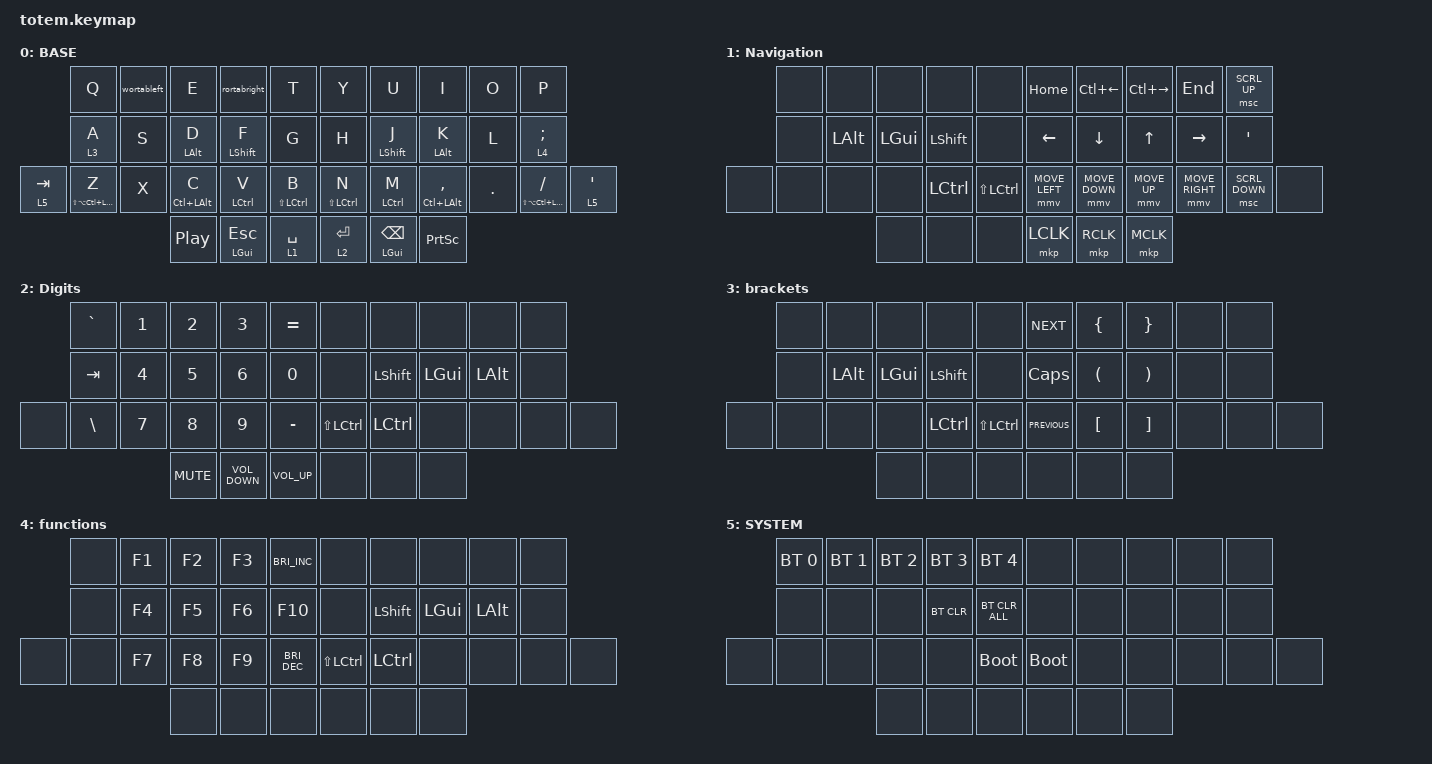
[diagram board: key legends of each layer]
//
//                                                        ▀▀▀▀▀     ▀▀▀▀▀          ▀▀█▀▀
//                                                        ▄▀▀▀▄  ▄  ▄▀▀▀▄  ▄  ▄▀▀▀▄  █  ▄▀▀▀▄
//                                                        █   █  █  █   █  █  █   █  █  █   █
//                                                         ▀▀▀   █   ▀▀▀   █   ▀▀▀   ▀   ▀▀▀
//                                                               █      ▄▄▄█▄▄▄    █   █
//                                                               ▀      █  █  █     █▄█
//                                                             ▀▀▀▀▀    █  █  █      ▀
//                                                                      ▀  ▀  ▀
//
// ▄▄▄▄▄▄▄▄▄▄▄▄▄▄▄▄▄▄▄▄▄▄▄▄▄▄▄▄▄▄▄▄▄▄▄▄▄▄▄▄▄▄▄▄▄▄▄▄▄▄▄▄▄▄▄▄▄▄▄▄▄▄▄▄▄▄▄▄▄▄▄▄▄▄▄▄▄▄▄▄▄▄▄▄▄▄▄▄▄▄▄▄▄▄▄▄▄▄▄▄▄▄▄▄▄▄▄▄▄▄▄▄▄▄▄▄▄▄▄▄▄▄▄▄▄▄▄▄▄▄▄▄▄▄▄▄▄▄▄▄▄▄▄▄▄▄▄▄▄

#include <behaviors.dtsi>
#include <dt-bindings/zmk/bt.h>
#include <dt-bindings/zmk/keys.h>
#include <dt-bindings/zmk/pointing.h>

#define BASE 0
#define NAV  1
#define DIG  2
#define SYS  3
#define QUICK_TAP_MS 175

&mt {
    quick-tap-ms = <100>;
    global-quick-tap;
    flavor = "tap-preferred";
    tapping-term-ms = <170>;
};

/ {
    combos {
        compatible = "zmk,combos";

        mousewarp {
            bindings = <&kp LC(LG(LS(Z)))>;
            key-positions = <34 35>;
            timeout-ms = <30>;
        };
    };

    behaviors {
        hml: hml {
            compatible = "zmk,behavior-hold-tap";
            label = "HML";
            bindings = <&kp>, <&kp>;

            #binding-cells = <2>;
            tapping-term-ms = <200>;
            quick-tap-ms = <250>;
            flavor = "tap-preferred";
            hold-trigger-on-release;
        };

        hmr: hmr {
            compatible = "zmk,behavior-hold-tap";
            label = "HMR";
            bindings = <&kp>, <&kp>;

            #binding-cells = <2>;
            tapping-term-ms = <200>;
            quick-tap-ms = <250>;
            flavor = "tap-preferred";
            hold-trigger-on-release;
        };

        // Nested mod-morphs to require LG + LA + LC
        // Innermost: only when LG+LA+LC all held → emit F24 (Karabiner remaps it)

        wortableft: wortableft {
            compatible = "zmk,behavior-mod-morph";
            label = "WORTABLEFT";
            #binding-cells = <0>;
            mods = <(MOD_LGUI)>;

            // no keep-mods on purpose; output is a dead key

            bindings = <&kp W>, <&kp LC(PAGE_UP)>;
        };

        rortabright: rortabright {
            compatible = "zmk,behavior-mod-morph";
            label = "RORTABRIGHT";
            bindings = <&kp R>, <&kp LC(PAGE_DOWN)>;

            #binding-cells = <0>;
            mods = <(MOD_LGUI)>;
        };
    };

    keymap {
        compatible = "zmk,keymap";

        QWERTY {
            label = "BASE";
            bindings = <
           &kp Q                        &wortableft  &kp E                &rortabright          &kp T               &kp Y             &kp U                    &kp I                    &kp O    &kp P
           &lt 3 A                      &kp S        &hml LEFT_ALT D      &hml LEFT_SHIFT F     &kp G               &kp H             &hmr LEFT_SHIFT J        &hmr LEFT_ALT K          &kp L    &lt 4 SEMICOLON
&lt 5 TAB  &hml LS(LA(LC(LEFT_GUI))) Z  &kp X        &hml LC(LEFT_ALT) C  &hml LCTRL V          &hml LS(LCTRL) B    &hmr LS(LCTRL) N  &hmr LCTRL M             &hmr LC(LEFT_ALT) COMMA  &kp DOT  &hmr LS(LA(LC(LEFT_GUI))) SLASH  &lt 5 SQT
                                                     &kp C_PLAY_PAUSE     &hml LEFT_GUI ESCAPE  &lt 1 SPACE         &lt 2 ENTER       &hmr LEFT_GUI BACKSPACE  &kp PRINTSCREEN
            >;
        };

        Navigation {
            label = "Navigation";
            bindings = <
       &none  &none         &none         &none      &none            &kp HOME        &kp LC(LEFT)    &kp LC(RIGHT)  &kp END          &msc SCRL_UP
       &none  &kp LEFT_ALT  &kp LEFT_GUI  &kp LSHFT  &none            &kp LEFT        &kp DOWN        &kp UP         &kp RIGHT        &kp SQT
&none  &none  &none         &none         &kp LCTRL  &kp LS(LCTRL)    &mmv MOVE_LEFT  &mmv MOVE_DOWN  &mmv MOVE_UP   &mmv MOVE_RIGHT  &msc SCRL_DOWN  &none
                            &none         &none      &none            &mkp LCLK       &mkp RCLK       &mkp MCLK
            >;
        };

        digits {
            label = "Digits";
            bindings = <
       &kp GRAVE      &kp NUMBER_1  &kp NUMBER_2  &kp NUMBER_3       &kp EQUAL          &none          &none           &none         &none         &none
       &kp TAB        &kp NUMBER_4  &kp N5        &kp NUMBER_6       &kp NUMBER_0       &none          &kp LEFT_SHIFT  &kp LEFT_GUI  &kp LEFT_ALT  &none
&none  &kp BACKSLASH  &kp N7        &kp N8        &kp N9             &kp MINUS          &kp LS(LCTRL)  &kp LCTRL       &none         &none         &none  &none
                                    &kp C_MUTE    &kp C_VOLUME_DOWN  &kp C_VOLUME_UP    &none          &none           &none
            >;
        };

        brackets {
            bindings = <
       &none  &none         &none         &none           &none            &kp C_NEXT      &kp LEFT_BRACE        &kp RIGHT_BRACE        &none  &none
       &none  &kp LEFT_ALT  &kp LEFT_GUI  &kp LEFT_SHIFT  &none            &kp CAPSLOCK    &kp LEFT_PARENTHESIS  &kp RIGHT_PARENTHESIS  &none  &none
&none  &none  &none         &none         &kp LCTRL       &kp LS(LCTRL)    &kp C_PREVIOUS  &kp LEFT_BRACKET      &kp RIGHT_BRACKET      &none  &none  &none
                            &none         &none           &none            &none           &none                 &none
            >;
        };

        functions {
            bindings = <
       &none  &kp F1  &kp F2  &kp F3  &kp C_BRIGHTNESS_INC    &none          &none           &none         &none         &none
       &none  &kp F4  &kp F5  &kp F6  &kp F10                 &none          &kp LEFT_SHIFT  &kp LEFT_GUI  &kp LEFT_ALT  &none
&none  &none  &kp F7  &kp F8  &kp F9  &kp C_BRIGHTNESS_DEC    &kp LS(LCTRL)  &kp LCTRL       &none         &none         &none  &none
                      &none   &none   &none                   &none          &none           &none
            >;
        };

        sim_layer {
            label = "SYSTEM";
            bindings = <
       &bt BT_SEL 0  &bt BT_SEL 1  &bt BT_SEL 2  &bt BT_SEL 3  &bt BT_SEL 4      &none        &none  &none  &none  &none
       &none         &none         &none         &bt BT_CLR    &bt BT_CLR_ALL    &none        &none  &none  &none  &none
&none  &none         &none         &none         &none         &bootloader       &bootloader  &none  &none  &none  &none  &none
                                   &none         &none         &none             &none        &none  &none
            >;
        };
    };
};
